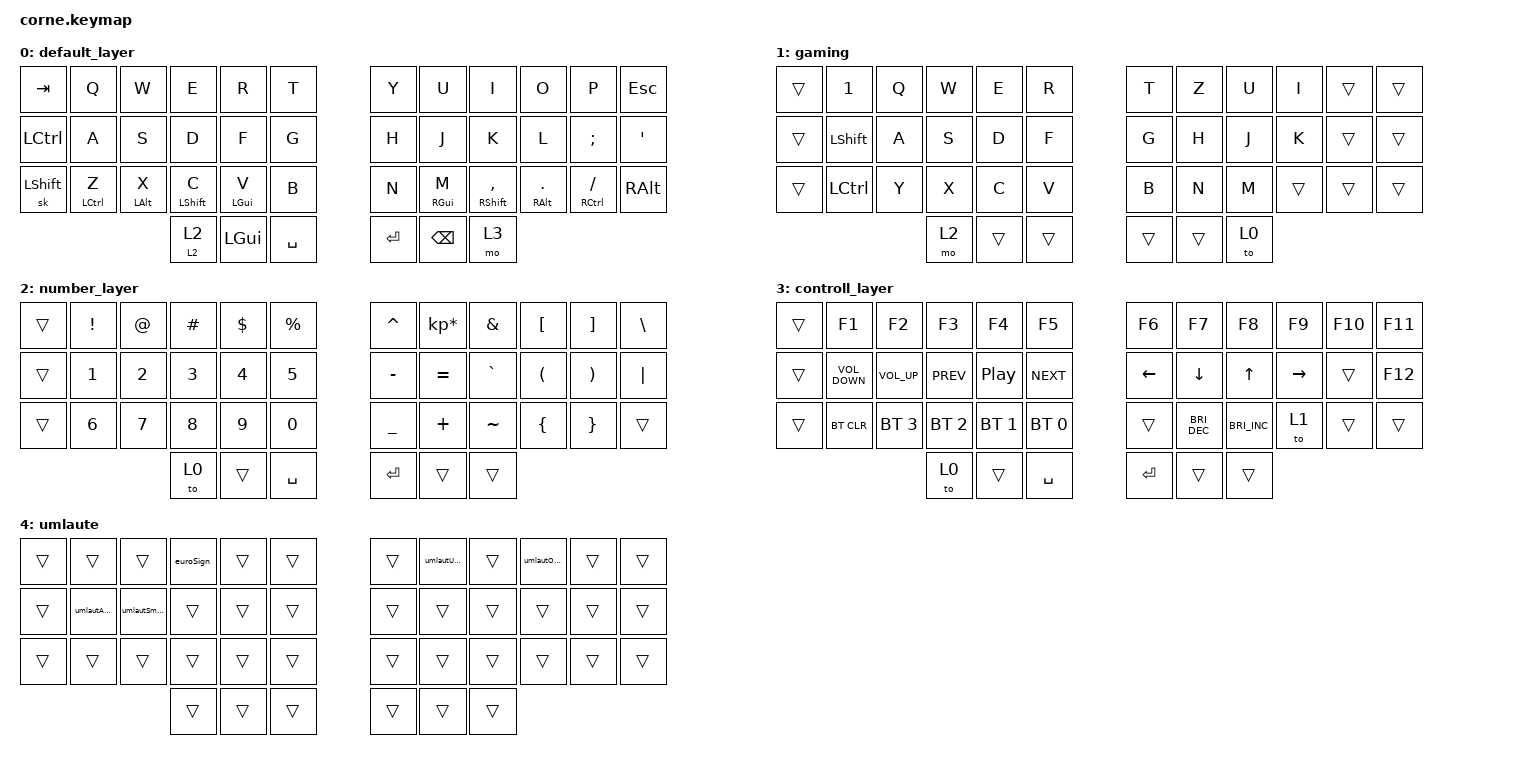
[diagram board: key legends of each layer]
/*
 * Copyright (c) 2020 The ZMK Contributors
 *
 * SPDX-License-Identifier: MIT
 */

#include <zmk-helpers/helper.h>
#include <behaviors.dtsi>
#include <dt-bindings/zmk/bt.h>
#include <dt-bindings/zmk/keys.h>

/ {
    combos {
        compatible = "zmk,combos";

        umlaute {
            bindings = <&sl 4>;
            key-positions = <36 41>;
        };

        // Mirrored special character combos
        // Left hand brackets

        combo_lbracket {
            bindings = <&kp LBKT>;
            key-positions = <3 4>;
            timeout-ms = <50>;
            require-prior-idle-ms = <100>;
        };

        combo_lparen {
            bindings = <&kp LPAR>;
            key-positions = <15 16>;
            timeout-ms = <50>;
            require-prior-idle-ms = <100>;
        };

        combo_lbrace {
            bindings = <&kp LBRC>;
            key-positions = <27 28>;
            timeout-ms = <50>;
            require-prior-idle-ms = <100>;
        };

        combo_lt {
            bindings = <&kp LT>;
            key-positions = <14 15>;
            timeout-ms = <50>;
            require-prior-idle-ms = <100>;
        };

        // Right hand brackets (mirrored)

        combo_rbracket {
            bindings = <&kp RBKT>;
            key-positions = <7 8>;
            timeout-ms = <50>;
            require-prior-idle-ms = <100>;
        };

        combo_rparen {
            bindings = <&kp RPAR>;
            key-positions = <19 20>;
            timeout-ms = <50>;
            require-prior-idle-ms = <100>;
        };

        combo_rbrace {
            bindings = <&kp RBRC>;
            key-positions = <31 32>;
            timeout-ms = <50>;
            require-prior-idle-ms = <100>;
        };

        combo_gt {
            bindings = <&kp GT>;
            key-positions = <20 21>;
            timeout-ms = <50>;
            require-prior-idle-ms = <100>;
        };

        // Additional special characters

        combo_tilde {
            bindings = <&kp TILDE>;
            key-positions = <13 14>;
            timeout-ms = <50>;
            require-prior-idle-ms = <100>;
        };

        combo_backslash {
            bindings = <&kp BSLH>;
            key-positions = <21 22>;
            timeout-ms = <50>;
            require-prior-idle-ms = <100>;
        };

        combo_asterisk {
            bindings = <&kp ASTRK>;
            key-positions = <3 8>;
            timeout-ms = <50>;
            require-prior-idle-ms = <100>;
        };

        combo_plus {
            bindings = <&kp PLUS>;
            key-positions = <4 7>;
            timeout-ms = <50>;
            require-prior-idle-ms = <100>;
        };

        combo_minus {
            bindings = <&kp MINUS>;
            key-positions = <28 31>;
            timeout-ms = <50>;
            require-prior-idle-ms = <100>;
        };

        combo_underscore {
            bindings = <&kp UNDER>;
            key-positions = <27 32>;
            timeout-ms = <50>;
            require-prior-idle-ms = <100>;
        };

        combo_equal {
            bindings = <&kp EQUAL>;
            key-positions = <16 19>;
            timeout-ms = <50>;
            require-prior-idle-ms = <100>;
        };

        combo_exclamation {
            bindings = <&kp EXCL>;
            key-positions = <15 20>;
            timeout-ms = <50>;
            require-prior-idle-ms = <100>;
        };

        combo_ampersand {
            bindings = <&kp AMPS>;
            key-positions = <5 6>;
            timeout-ms = <50>;
            require-prior-idle-ms = <100>;
        };

        combo_pipe {
            bindings = <&kp PIPE>;
            key-positions = <29 30>;
            timeout-ms = <50>;
            require-prior-idle-ms = <100>;
        };
    };

    behaviors {
        mo_tog: behavior_mo_tog {
            compatible = "zmk,behavior-hold-tap";
            #binding-cells = <2>;
            flavor = "hold-preferred";   /* prefer hold if you hold long enough */
            tapping-term-ms = <200>;              /* adjust threshold to taste */
            bindings = <&mo>, <&tog>;

            /* <hold-behavior>, <tap-behavior> */

            label = "MO_TOG";
        };

        hml: homerow_mods_left {
            compatible = "zmk,behavior-hold-tap";
            #binding-cells = <2>;
            bindings = <&kp>, <&kp>;

            flavor = "balanced";
            tapping-term-ms = <280>;
            require-prior-idle-ms = <170>;
            hold-trigger-key-positions = <6 7 8 9 10 11 18 19 20 21 22 23 30 31 32 33 34 35 36 37 38 39 40 41>;
            hold-trigger-on-release;
            label = "HML";
        };

        hmr: homerow_mods_right {
            compatible = "zmk,behavior-hold-tap";
            #binding-cells = <2>;
            bindings = <&kp>, <&kp>;

            flavor = "balanced";
            tapping-term-ms = <280>;
            require-prior-idle-ms = <170>;
            hold-trigger-key-positions = <0 1 2 3 4 5 12 13 14 15 16 17 24 25 26 27 28 29 36 37 38 39 40 41>;
            hold-trigger-on-release;
            label = "HMR";
        };
    };

    macros {
        umlautAmac: umlautAmac {
            compatible = "zmk,behavior-macro";
            #binding-cells = <0>;
            bindings = <&kp LA(U) &kp A>;
            label = "UMLAUTAMAC";
        };

        umlautOmac: umlautOmac {
            compatible = "zmk,behavior-macro";
            #binding-cells = <0>;
            bindings = <&kp LA(U) &kp O>;
            label = "UMLAUTOMAC";
        };

        umlautUmac: umlautUmac {
            compatible = "zmk,behavior-macro";
            #binding-cells = <0>;
            bindings = <&kp LA(U) &kp U>;
            label = "UMLAUTUMAC";
        };

        umlautSmac: umlautSmac {
            compatible = "zmk,behavior-macro";
            #binding-cells = <0>;
            bindings = <&kp LA(S)>; // Left Alt (Option) + S together
            label = "UMLAUTSMAC";
        };

        euroSign: euroSign {
            compatible = "zmk,behavior-macro";
            #binding-cells = <0>;
            bindings = <&kp RA(LS(NUMBER_2))>; // Right Alt + Left Shift + 2
            label = "EUROSIGN";
        };
    };

    keymap {
        compatible = "zmk,keymap";

        default_layer {
            // -----------------------------------------------------------------------------------------
            // |  TAB |  Q  |  W  |  E  |  R  |  T  |   |  Y  |  U   |  I  |  O  |  P  | BKSP |
            // | CTRL |  A  |  S  |  D  |  F  |  G  |   |  H  |  J   |  K  |  L  |  ;  |  '   |
            // | SHFT |  Z  |  X  |  C  |  V  |  B  |   |  N  |  M   |  ,  |  .  |  /  | ESC  |
            //                    | GUI | LWR | SPC |   | ENT | RSE  | ALT |

            bindings = <
&kp TAB         &kp Q         &kp W        &kp E          &kp R        &kp T        &kp Y    &kp U          &kp I              &kp O          &kp P            &kp ESC
&kp LCTRL       &kp A         &kp S        &kp D          &kp F        &kp G        &kp H    &kp J          &kp K              &kp L          &kp SEMI         &kp SQT
&sk LEFT_SHIFT  &hml LCTRL Z  &hml LALT X  &hml LSHIFT C  &hml LGUI V  &kp B        &kp N    &hmr RGUI M    &hmr RSHIFT COMMA  &hmr RALT DOT  &hmr RCTRL FSLH  &kp RIGHT_ALT
                                           &mo_tog 2 2    &kp LGUI     &kp SPACE    &kp RET  &kp BACKSPACE  &mo 3
            >;
        };

        gaming {
            bindings = <
&trans  &kp NUMBER_1      &kp Q  &kp W  &kp E   &kp R     &kp T   &kp Z   &kp U  &kp I   &trans  &trans
&trans  &kp LEFT_SHIFT    &kp A  &kp S  &kp D   &kp F     &kp G   &kp H   &kp J  &kp K   &trans  &trans
&trans  &kp LEFT_CONTROL  &kp Y  &kp X  &kp C   &kp V     &kp B   &kp N   &kp M  &trans  &trans  &trans
                                 &mo 2  &trans  &trans    &trans  &trans  &to 0
            >;
        };

        number_layer {
            // -----------------------------------------------------------------------------------------
            // |  TAB |  !  |  @  |  #  |  $  |  %  |   |  ^  |  &  |  *  |  (  |  )  | BKSP |
            // | CTRL |     |     |     |     |     |   |  -  |  =  |  [  |  ]  |  \  |  `   |
            // | SHFT |     |     |     |     |     |   |  _  |  +  |  {  |  }  | "|" |  ~   |
            //                    | GUI |     | SPC |   | ENT |     | ALT |

            bindings = <
&trans  &kp EXCL      &kp AT        &kp HASH      &kp DLLR      &kp PRCNT    &kp CARET  &kp KP_MULTIPLY  &kp AMPS   &kp LEFT_BRACKET      &kp RIGHT_BRACKET      &kp BACKSLASH
&trans  &kp NUMBER_1  &kp NUMBER_2  &kp NUMBER_3  &kp NUMBER_4  &kp N5       &kp MINUS  &kp EQUAL        &kp GRAVE  &kp LEFT_PARENTHESIS  &kp RIGHT_PARENTHESIS  &kp PIPE
&trans  &kp NUMBER_6  &kp N7        &kp N8        &kp N9        &kp N0       &kp UNDER  &kp PLUS         &kp TILDE  &kp LEFT_BRACE        &kp RIGHT_BRACE        &trans
                                    &to 0         &trans        &kp SPACE    &kp RET    &trans           &trans
            >;
        };

        controll_layer {
            // -----------------------------------------------------------------------------------------
            // |  TAB |  1  |  2  |  3  |  4  |  5  |   |  6  |  7  |  8  |  9  |  0  | BKSP |
            // | BTCLR| BT1 | BT2 | BT3 | BT4 | BT5 |   | LFT | DWN |  UP | RGT |     |      |
            // | SHFT |     |     |     |     |     |   |     |     |     |     |     |      |
            //                    | GUI |     | SPC |   | ENT |     | ALT |

            bindings = <
&trans  &kp F1             &kp F2           &kp F3        &kp F4            &kp F5          &kp F6    &kp F7                &kp F8                &kp F9     &kp F10  &kp F11
&trans  &kp C_VOLUME_DOWN  &kp C_VOLUME_UP  &kp C_PREV    &kp C_PLAY_PAUSE  &kp C_NEXT      &kp LEFT  &kp DOWN              &kp UP                &kp RIGHT  &trans   &kp F12
&trans  &bt BT_CLR         &bt BT_SEL 3     &bt BT_SEL 2  &bt BT_SEL 1      &bt BT_SEL 0    &trans    &kp C_BRIGHTNESS_DEC  &kp C_BRIGHTNESS_INC  &to 1      &trans   &trans
                                            &to 0         &trans            &kp SPACE       &kp RET   &trans                &trans
            >;
        };

        umlaute {
            bindings = <
&trans  &trans       &trans       &euroSign  &trans  &trans    &trans  &umlautUmac  &trans  &umlautOmac  &trans  &trans
&trans  &umlautAmac  &umlautSmac  &trans     &trans  &trans    &trans  &trans       &trans  &trans       &trans  &trans
&trans  &trans       &trans       &trans     &trans  &trans    &trans  &trans       &trans  &trans       &trans  &trans
                                  &trans     &trans  &trans    &trans  &trans       &trans
            >;
        };
    };
};
